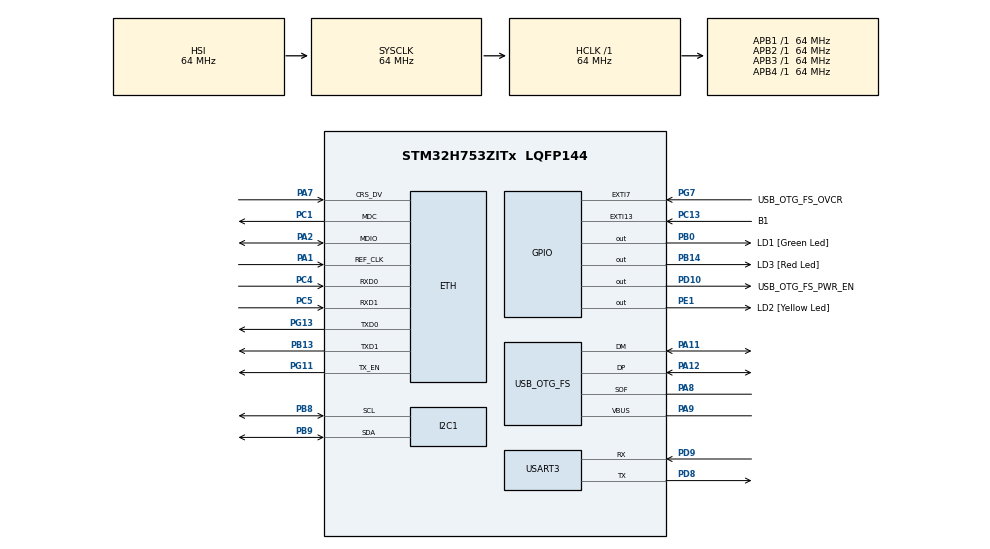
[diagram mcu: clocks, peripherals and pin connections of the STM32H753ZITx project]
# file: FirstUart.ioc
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CORTEX_M7.CPU_DCache=Disabled
CORTEX_M7.CPU_ICache=Disabled
CORTEX_M7.MPU_Control=__NULL
ETH.ETH_RX_DESC_CNT=4
ETH.ETH_TX_DESC_CNT=4
ETH.MACAddr=00\:80\:E1\:00\:00\:00
ETH.MediaInterface=HAL_ETH_RMII_MODE
ETH.RxBuffAddress=0x30040200
ETH.RxBuffLen=1524
ETH.RxDescAddress=0x30040000
ETH.TxDescAddress=0x30040060
Mcu.Family=STM32H7
Mcu.Name=STM32H753ZITx
Mcu.Package=LQFP144
NVIC.EXTI15_10_IRQn=true\:0\:0\:false\:false\:true\:true\:true\:true
NVIC.PriorityGroup=NVIC_PRIORITYGROUP_4
NVIC.USART3_IRQn=true\:0\:0\:false\:false\:true\:true\:true\:true
PA1.Mode=RMII
PA1.Signal=ETH_REF_CLK
PA11.Mode=Device_Only
PA11.Signal=USB_OTG_FS_DM
PA12.Mode=Device_Only
PA12.Signal=USB_OTG_FS_DP
PA2.Mode=RMII
PA2.Signal=ETH_MDIO
PA7.Mode=RMII
PA7.Signal=ETH_CRS_DV
PA8.Mode=Activate_SOF_FS
PA8.Signal=USB_OTG_FS_SOF
PA9.Mode=Activate_VBUS
PA9.Signal=USB_OTG_FS_VBUS
PB0.GPIO_Label=LD1 [Green Led]
PB0.Signal=GPIO_Output
PB13.Mode=RMII
PB13.Signal=ETH_TXD1
PB14.GPIO_Label=LD3 [Red Led]
PB14.Signal=GPIO_Output
PB8.GPIO_Pu=GPIO_PULLUP
PB8.GPIO_Speed=GPIO_SPEED_FREQ_VERY_HIGH
PB8.Mode=I2C
PB8.Signal=I2C1_SCL
PB9.GPIO_Pu=GPIO_PULLUP
PB9.GPIO_Speed=GPIO_SPEED_FREQ_VERY_HIGH
PB9.Mode=I2C
PB9.Signal=I2C1_SDA
PC1.Mode=RMII
PC1.Signal=ETH_MDC
PC13.GPIO_Label=B1
PC13.Signal=GPXTI13
PC14-OSC32_IN\ (OSC32_IN).Mode=LSE-External-Oscillator
PC14-OSC32_IN\ (OSC32_IN).Signal=RCC_OSC32_IN
PC15-OSC32_OUT\ (OSC32_OUT).Mode=LSE-External-Oscillator
PC15-OSC32_OUT\ (OSC32_OUT).Signal=RCC_OSC32_OUT
PC4.Mode=RMII
PC4.Signal=ETH_RXD0
PC5.Mode=RMII
PC5.Signal=ETH_RXD1
PD10.GPIO_Label=USB_OTG_FS_PWR_EN
PD10.Signal=GPIO_Output
PD8.Mode=Asynchronous
PD8.Signal=USART3_TX
PD9.Mode=Asynchronous
PD9.Signal=USART3_RX
PE1.GPIO_Label=LD2 [Yellow Led]
PE1.Signal=GPIO_Output
PG11.Mode=RMII
PG11.Signal=ETH_TX_EN
PG13.Mode=RMII
PG13.Signal=ETH_TXD0
PG7.GPIO_Label=USB_OTG_FS_OVCR
PG7.Signal=GPXTI7
PH0-OSC_IN\ (PH0).Mode=HSE-External-Clock-Source
PH0-OSC_IN\ (PH0).Signal=RCC_OSC_IN
PH1-OSC_OUT\ (PH1).Signal=RCC_OSC_OUT
ProjectManager.HeapSize=0x200
ProjectManager.StackSize=0x400
ProjectManager.TargetToolchain=STM32CubeIDE
RCC.ADCFreq_Value=16125000
RCC.APB1Freq_Value=64000000
RCC.APB2Freq_Value=64000000
RCC.APB3Freq_Value=64000000
RCC.APB4Freq_Value=64000000
RCC.CortexFreq_Value=64000000
RCC.DIVM1=1
RCC.DIVN1=24
RCC.DIVQ1=4
RCC.HCLKFreq_Value=64000000
RCC.HSE_VALUE=8000000
RCC.PLLFRACN=0
RCC.PWR_Regulator_Voltage_Scale=PWR_REGULATOR_VOLTAGE_SCALE2
RCC.SYSCLKFreq_VALUE=64000000
RCC.USBFreq_Value=48000000
USART3.VirtualMode-Asynchronous=VM_ASYNC
USB_OTG_FS.Sof_enable=ENABLE
USB_OTG_FS.VirtualMode=Device_Only
USB_OTG_FS.battery_charging_enable=ENABLE
USB_OTG_FS.low_power_enable=DISABLE
USB_OTG_FS.lpm_enable=DISABLE
USB_OTG_FS.use_dedicated_ep1=DISABLE
USB_OTG_FS.vbus_sensing_enable=ENABLE
VP_MEMORYMAP_VS_MEMORYMAP.Mode=CurAppReg
board=NUCLEO-H753ZI

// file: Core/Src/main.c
/* USER CODE BEGIN Header */
/**
  ******************************************************************************
  * @file           : main.c
  * @brief          : Main program body
  ******************************************************************************
  * @attention
  *
  * Copyright (c) 2024 STMicroelectronics.
  * All rights reserved.
  *
  * This software is licensed under terms that can be found in the LICENSE file
  * in the root directory of this software component.
  * If no LICENSE file comes with this software, it is provided AS-IS.
  *
  ******************************************************************************
  */
/* USER CODE END Header */
#include "main.h"
#include "string.h"

#define PCF8591_ADDRESS 0x48 << 1

#if defined ( __ICCARM__ ) /*!< IAR Compiler */
#pragma location=0x30040000
ETH_DMADescTypeDef  DMARxDscrTab[ETH_RX_DESC_CNT]; /* Ethernet Rx DMA Descriptors */
#pragma location=0x30040060
ETH_DMADescTypeDef  DMATxDscrTab[ETH_TX_DESC_CNT]; /* Ethernet Tx DMA Descriptors */

#elif defined ( __CC_ARM )  /* MDK ARM Compiler */

__attribute__((at(0x30040000))) ETH_DMADescTypeDef  DMARxDscrTab[ETH_RX_DESC_CNT]; /* Ethernet Rx DMA Descriptors */
__attribute__((at(0x30040060))) ETH_DMADescTypeDef  DMATxDscrTab[ETH_TX_DESC_CNT]; /* Ethernet Tx DMA Descriptors */

#elif defined ( __GNUC__ ) /* GNU Compiler */

ETH_DMADescTypeDef DMARxDscrTab[ETH_RX_DESC_CNT] __attribute__((section(".RxDecripSection"))); /* Ethernet Rx DMA Descriptors */
ETH_DMADescTypeDef DMATxDscrTab[ETH_TX_DESC_CNT] __attribute__((section(".TxDecripSection")));   /* Ethernet Tx DMA Descriptors */
#endif

ETH_TxPacketConfig TxConfig;

ETH_HandleTypeDef heth;

I2C_HandleTypeDef hi2c1;

UART_HandleTypeDef huart3;

PCD_HandleTypeDef hpcd_USB_OTG_FS;

void SystemClock_Config(void);
static void MX_GPIO_Init(void);
static void MX_ETH_Init(void);
static void MX_USART3_UART_Init(void);
static void MX_USB_OTG_FS_PCD_Init(void);
static void MX_I2C1_Init(void);
/* USER CODE BEGIN PFP */
uint8_t PCF8591_ReadAnalog(uint8_t channel);
void SendMessage(uint8_t value, uint8_t port);
/* USER CODE END PFP */

/* USER CODE BEGIN 0 */

int counter = 0;
int ledStatus = 0;

char rx_buffer[9];
char execute_flag = '0';

char tabela[3][30] = {
    "Douglas, 102030 \r\n",
    "Loana, 302010 \r\n",
    "Deus, 700000 \r\n",
};

/* USER CODE END 0 */

int main(void)
{

  /* MCU Configuration--------------------------------------------------------*/

  /* Reset of all peripherals, Initializes the Flash interface and the Systick. */
  HAL_Init();

  /* Configure the system clock */
  SystemClock_Config();

  /* Initialize all configured peripherals */
  MX_GPIO_Init();
  MX_ETH_Init();
  MX_USART3_UART_Init();
  MX_USB_OTG_FS_PCD_Init();
  MX_I2C1_Init();
  /* USER CODE BEGIN 2 */
  HAL_UART_Receive_IT(&huart3, rx_buffer, sizeof(rx_buffer));
  /* USER CODE END 2 */

  /* Infinite loop */
  while (1)
  {

  }
}

void SystemClock_Config(void)
{
  RCC_OscInitTypeDef RCC_OscInitStruct = {0};
  RCC_ClkInitTypeDef RCC_ClkInitStruct = {0};

  /** Supply configuration update enable
  */
  HAL_PWREx_ConfigSupply(PWR_LDO_SUPPLY);

  /** Configure the main internal regulator output voltage
  */
  __HAL_PWR_VOLTAGESCALING_CONFIG(PWR_REGULATOR_VOLTAGE_SCALE2);

  while(!__HAL_PWR_GET_FLAG(PWR_FLAG_VOSRDY)) {}

  /** Initializes the RCC Oscillators according to the specified parameters
  * in the RCC_OscInitTypeDef structure.
  */
  RCC_OscInitStruct.OscillatorType = RCC_OSCILLATORTYPE_HSI|RCC_OSCILLATORTYPE_HSE;
  RCC_OscInitStruct.HSEState = RCC_HSE_BYPASS;
  RCC_OscInitStruct.HSIState = RCC_HSI_DIV1;
  RCC_OscInitStruct.HSICalibrationValue = RCC_HSICALIBRATION_DEFAULT;
  RCC_OscInitStruct.PLL.PLLState = RCC_PLL_ON;
  RCC_OscInitStruct.PLL.PLLSource = RCC_PLLSOURCE_HSE;
  RCC_OscInitStruct.PLL.PLLM = 1;
  RCC_OscInitStruct.PLL.PLLN = 24;
  RCC_OscInitStruct.PLL.PLLP = 2;
  RCC_OscInitStruct.PLL.PLLQ = 4;
  RCC_OscInitStruct.PLL.PLLR = 2;
  RCC_OscInitStruct.PLL.PLLRGE = RCC_PLL1VCIRANGE_3;
  RCC_OscInitStruct.PLL.PLLVCOSEL = RCC_PLL1VCOWIDE;
  RCC_OscInitStruct.PLL.PLLFRACN = 0;
  if (HAL_RCC_OscConfig(&RCC_OscInitStruct) != HAL_OK)
  {
    Error_Handler();
  }

  /** Initializes the CPU, AHB and APB buses clocks
  */
  RCC_ClkInitStruct.ClockType = RCC_CLOCKTYPE_HCLK|RCC_CLOCKTYPE_SYSCLK
                              |RCC_CLOCKTYPE_PCLK1|RCC_CLOCKTYPE_PCLK2
                              |RCC_CLOCKTYPE_D3PCLK1|RCC_CLOCKTYPE_D1PCLK1;
  RCC_ClkInitStruct.SYSCLKSource = RCC_SYSCLKSOURCE_HSI;
  RCC_ClkInitStruct.SYSCLKDivider = RCC_SYSCLK_DIV1;
  RCC_ClkInitStruct.AHBCLKDivider = RCC_HCLK_DIV1;
  RCC_ClkInitStruct.APB3CLKDivider = RCC_APB3_DIV1;
  RCC_ClkInitStruct.APB1CLKDivider = RCC_APB1_DIV1;
  RCC_ClkInitStruct.APB2CLKDivider = RCC_APB2_DIV1;
  RCC_ClkInitStruct.APB4CLKDivider = RCC_APB4_DIV1;

  if (HAL_RCC_ClockConfig(&RCC_ClkInitStruct, FLASH_LATENCY_1) != HAL_OK)
  {
    Error_Handler();
  }
}

static void MX_ETH_Init(void)
{

   static uint8_t MACAddr[6];

  heth.Instance = ETH;
  MACAddr[0] = 0x00;
  MACAddr[1] = 0x80;
  MACAddr[2] = 0xE1;
  MACAddr[3] = 0x00;
  MACAddr[4] = 0x00;
  MACAddr[5] = 0x00;
  heth.Init.MACAddr = &MACAddr[0];
  heth.Init.MediaInterface = HAL_ETH_RMII_MODE;
  heth.Init.TxDesc = DMATxDscrTab;
  heth.Init.RxDesc = DMARxDscrTab;
  heth.Init.RxBuffLen = 1524;

  if (HAL_ETH_Init(&heth) != HAL_OK)
  {
    Error_Handler();
  }

  memset(&TxConfig, 0 , sizeof(ETH_TxPacketConfig));
  TxConfig.Attributes = ETH_TX_PACKETS_FEATURES_CSUM | ETH_TX_PACKETS_FEATURES_CRCPAD;
  TxConfig.ChecksumCtrl = ETH_CHECKSUM_IPHDR_PAYLOAD_INSERT_PHDR_CALC;
  TxConfig.CRCPadCtrl = ETH_CRC_PAD_INSERT;

}

static void MX_I2C1_Init(void)
{

  hi2c1.Instance = I2C1;
  hi2c1.Init.Timing = 0x10707DBC;
  hi2c1.Init.OwnAddress1 = 0;
  hi2c1.Init.AddressingMode = I2C_ADDRESSINGMODE_7BIT;
  hi2c1.Init.DualAddressMode = I2C_DUALADDRESS_DISABLE;
  hi2c1.Init.OwnAddress2 = 0;
  hi2c1.Init.OwnAddress2Masks = I2C_OA2_NOMASK;
  hi2c1.Init.GeneralCallMode = I2C_GENERALCALL_DISABLE;
  hi2c1.Init.NoStretchMode = I2C_NOSTRETCH_DISABLE;
  if (HAL_I2C_Init(&hi2c1) != HAL_OK)
  {
    Error_Handler();
  }

  /** Configure Analogue filter
  */
  if (HAL_I2CEx_ConfigAnalogFilter(&hi2c1, I2C_ANALOGFILTER_ENABLE) != HAL_OK)
  {
    Error_Handler();
  }

  /** Configure Digital filter
  */
  if (HAL_I2CEx_ConfigDigitalFilter(&hi2c1, 0) != HAL_OK)
  {
    Error_Handler();
  }

}

static void MX_USART3_UART_Init(void)
{

  huart3.Instance = USART3;
  huart3.Init.BaudRate = 115200;
  huart3.Init.WordLength = UART_WORDLENGTH_8B;
  huart3.Init.StopBits = UART_STOPBITS_1;
  huart3.Init.Parity = UART_PARITY_NONE;
  huart3.Init.Mode = UART_MODE_TX_RX;
  huart3.Init.HwFlowCtl = UART_HWCONTROL_NONE;
  huart3.Init.OverSampling = UART_OVERSAMPLING_16;
  huart3.Init.OneBitSampling = UART_ONE_BIT_SAMPLE_DISABLE;
  huart3.Init.ClockPrescaler = UART_PRESCALER_DIV1;
  huart3.AdvancedInit.AdvFeatureInit = UART_ADVFEATURE_NO_INIT;
  if (HAL_UART_Init(&huart3) != HAL_OK)
  {
    Error_Handler();
  }
  if (HAL_UARTEx_SetTxFifoThreshold(&huart3, UART_TXFIFO_THRESHOLD_1_8) != HAL_OK)
  {
    Error_Handler();
  }
  if (HAL_UARTEx_SetRxFifoThreshold(&huart3, UART_RXFIFO_THRESHOLD_1_8) != HAL_OK)
  {
    Error_Handler();
  }
  if (HAL_UARTEx_DisableFifoMode(&huart3) != HAL_OK)
  {
    Error_Handler();
  }

}

static void MX_USB_OTG_FS_PCD_Init(void)
{

  hpcd_USB_OTG_FS.Instance = USB_OTG_FS;
  hpcd_USB_OTG_FS.Init.dev_endpoints = 9;
  hpcd_USB_OTG_FS.Init.speed = PCD_SPEED_FULL;
  hpcd_USB_OTG_FS.Init.dma_enable = DISABLE;
  hpcd_USB_OTG_FS.Init.phy_itface = PCD_PHY_EMBEDDED;
  hpcd_USB_OTG_FS.Init.Sof_enable = ENABLE;
  hpcd_USB_OTG_FS.Init.low_power_enable = DISABLE;
  hpcd_USB_OTG_FS.Init.lpm_enable = DISABLE;
  hpcd_USB_OTG_FS.Init.battery_charging_enable = ENABLE;
  hpcd_USB_OTG_FS.Init.vbus_sensing_enable = ENABLE;
  hpcd_USB_OTG_FS.Init.use_dedicated_ep1 = DISABLE;
  if (HAL_PCD_Init(&hpcd_USB_OTG_FS) != HAL_OK)
  {
    Error_Handler();
  }

}

static void MX_GPIO_Init(void)
{
  GPIO_InitTypeDef GPIO_InitStruct = {0};

  /* GPIO Ports Clock Enable */
  __HAL_RCC_GPIOC_CLK_ENABLE();
  __HAL_RCC_GPIOH_CLK_ENABLE();
  __HAL_RCC_GPIOA_CLK_ENABLE();
  __HAL_RCC_GPIOB_CLK_ENABLE();
  __HAL_RCC_GPIOD_CLK_ENABLE();
  __HAL_RCC_GPIOG_CLK_ENABLE();
  __HAL_RCC_GPIOE_CLK_ENABLE();

  /*Configure GPIO pin Output Level */
  HAL_GPIO_WritePin(GPIOB, LD1_Pin|LD3_Pin, GPIO_PIN_RESET);

  /*Configure GPIO pin Output Level */
  HAL_GPIO_WritePin(USB_OTG_FS_PWR_EN_GPIO_Port, USB_OTG_FS_PWR_EN_Pin, GPIO_PIN_RESET);

  /*Configure GPIO pin Output Level */
  HAL_GPIO_WritePin(LD2_GPIO_Port, LD2_Pin, GPIO_PIN_RESET);

  /*Configure GPIO pin : B1_Pin */
  GPIO_InitStruct.Pin = B1_Pin;
  GPIO_InitStruct.Mode = GPIO_MODE_IT_RISING;
  GPIO_InitStruct.Pull = GPIO_NOPULL;
  HAL_GPIO_Init(B1_GPIO_Port, &GPIO_InitStruct);

  /*Configure GPIO pins : LD1_Pin LD3_Pin */
  GPIO_InitStruct.Pin = LD1_Pin|LD3_Pin;
  GPIO_InitStruct.Mode = GPIO_MODE_OUTPUT_PP;
  GPIO_InitStruct.Pull = GPIO_NOPULL;
  GPIO_InitStruct.Speed = GPIO_SPEED_FREQ_LOW;
  HAL_GPIO_Init(GPIOB, &GPIO_InitStruct);

  /*Configure GPIO pin : USB_OTG_FS_PWR_EN_Pin */
  GPIO_InitStruct.Pin = USB_OTG_FS_PWR_EN_Pin;
  GPIO_InitStruct.Mode = GPIO_MODE_OUTPUT_PP;
  GPIO_InitStruct.Pull = GPIO_NOPULL;
  GPIO_InitStruct.Speed = GPIO_SPEED_FREQ_LOW;
  HAL_GPIO_Init(USB_OTG_FS_PWR_EN_GPIO_Port, &GPIO_InitStruct);

  /*Configure GPIO pin : USB_OTG_FS_OVCR_Pin */
  GPIO_InitStruct.Pin = USB_OTG_FS_OVCR_Pin;
  GPIO_InitStruct.Mode = GPIO_MODE_IT_RISING;
  GPIO_InitStruct.Pull = GPIO_NOPULL;
  HAL_GPIO_Init(USB_OTG_FS_OVCR_GPIO_Port, &GPIO_InitStruct);

  /*Configure GPIO pin : LD2_Pin */
  GPIO_InitStruct.Pin = LD2_Pin;
  GPIO_InitStruct.Mode = GPIO_MODE_OUTPUT_PP;
  GPIO_InitStruct.Pull = GPIO_NOPULL;
  GPIO_InitStruct.Speed = GPIO_SPEED_FREQ_LOW;
  HAL_GPIO_Init(LD2_GPIO_Port, &GPIO_InitStruct);

  /* EXTI interrupt init*/
  HAL_NVIC_SetPriority(EXTI15_10_IRQn, 0, 0);
  HAL_NVIC_EnableIRQ(EXTI15_10_IRQn);

}

/* USER CODE BEGIN 4 */

void HAL_GPIO_EXTI_Callback(uint16_t GPIO_Pin)
{
  if (GPIO_Pin == GPIO_PIN_13)
  {
	  counter++;
  }
}

void HAL_UART_RxCpltCallback(UART_HandleTypeDef *huart)
{
	/*
	if (strncmp(rx_buffer, "Sends", 5) == 0) {
	  execute_flag = '1';
	}
	if (strncmp(rx_buffer, "Clear", 5) == 0) {
	  execute_flag = '2';
	}
	if (strncmp(rx_buffer, "Table", 5) == 0) {
	  execute_flag = '3';
	}
	if (strncmp(rx_buffer, "Led_R", 5) == 0) {
	  execute_flag = '4';
	}
	if (strncmp(rx_buffer, "Led_G", 5) == 0) {
	  execute_flag = '5';
	}
	if (strncmp(rx_buffer, "Led_B", 5) == 0) {
	  execute_flag = '6';
	}
	*/

	if (strncmp(rx_buffer, "Read_AIN0", 9) == 0)
	{
		uint8_t Anal = 0;
		uint8_t LDR = PCF8591_ReadAnalog(Anal);

		SendMessage(LDR, Anal);
	}

	if (strncmp(rx_buffer, "Read_AIN1", 9) == 0)
	{
		uint8_t Anal = 1;
		uint8_t Temp = PCF8591_ReadAnalog(Anal);

		SendMessage(Temp, Anal);
	}

	if (strncmp(rx_buffer, "Read_AIN3", 9) == 0)
	{
		uint8_t Anal = 3;
		uint8_t Pot = PCF8591_ReadAnalog(Anal);

		SendMessage(Pot, Anal);
	}

	HAL_UART_Receive_IT(&huart3, rx_buffer, sizeof(rx_buffer));
}

void SendMessage(uint8_t value, uint8_t port)
{
	char message[10];

	sprintf(message, "AIN%d: %d\r\n", port, value);

	HAL_UART_Transmit(&huart3, (uint8_t*)message, strlen(message), HAL_MAX_DELAY);
}

uint8_t PCF8591_ReadAnalog(uint8_t channel)
{
	uint8_t config_byte = 0x40 | (channel & 0x03); // Select the channel (A0, A1, A2, A3)
	uint8_t analog_data[2];

	// Send configuration byte to select the ADC channel
	HAL_I2C_Master_Transmit(&hi2c1, PCF8591_ADDRESS, &config_byte, 1, 1000);

	// Read two bytes: first byte is a dummy, second byte is the actual analog value
	HAL_I2C_Master_Receive(&hi2c1, PCF8591_ADDRESS, analog_data, 2, 1000);

	// Return the second byte which contains the valid ADC reading
	return analog_data[1];
}

/* USER CODE END 4 */

void Error_Handler(void)
{
  __disable_irq();
  while (1)
  {
  }
}
